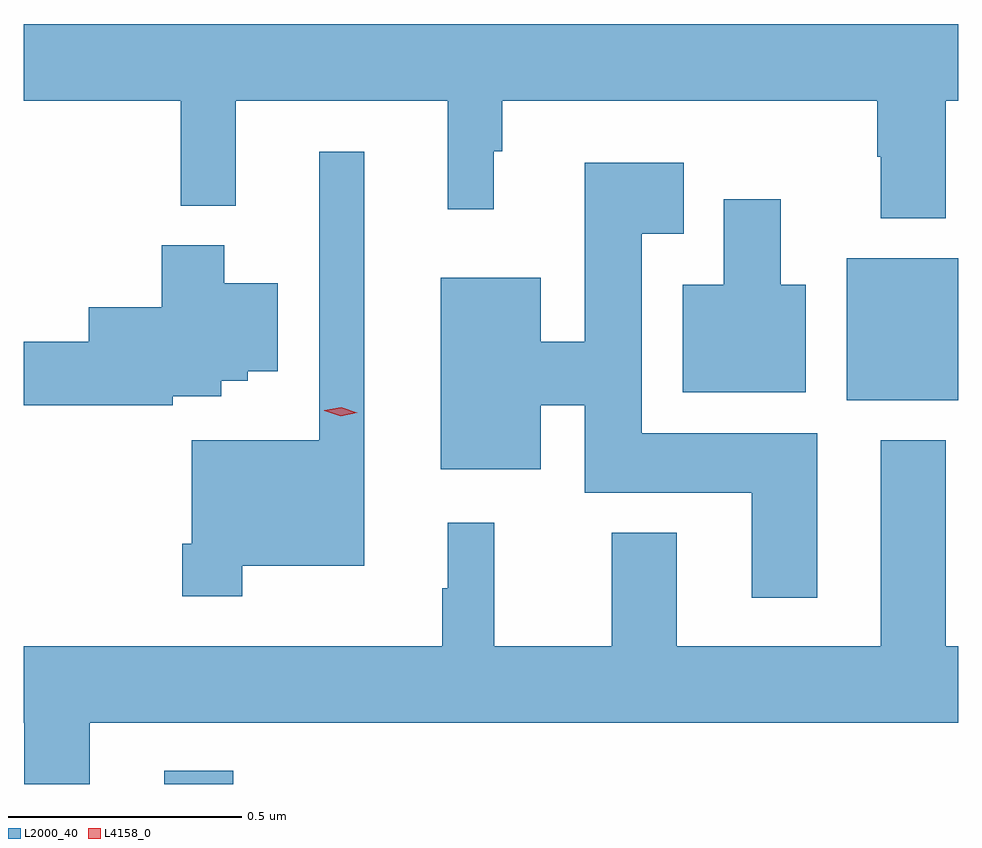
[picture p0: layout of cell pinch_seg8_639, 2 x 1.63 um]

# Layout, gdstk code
import gdstk
lib = gdstk.Library(unit=1e-6, precision=1e-09)
def R(c, l, rs):  # rectangles x0, y0, x1, y1
    for r in rs: c.add(gdstk.rectangle(r[:2], r[2:], *l))
def P(c, l, *ps):  # polygons
    for p in ps: c.add(gdstk.Polygon(p, *l))
L2000_40 = (2000, 40)
L4158_0 = (4158, 0)

pinch_seg8_639 = lib.new_cell('pinch_seg8_639')
R(pinch_seg8_639, L2000_40, [(203.312,1089.729,203.459,1089.757), (204.773,1090.55,205.011,1090.855)])
P(pinch_seg8_639, L2000_40, [(204.985,1091.192),(205.011,1091.192),(205.011,1091.356),(203.011,1091.356),(203.011,1091.192),(203.347,1091.192),(203.347,1090.967),(203.465,1090.967),(203.465,1091.192),(203.918,1091.192),(203.918,1090.959),(204.017,1090.959),(204.017,1091.084),(204.035,1091.084),(204.035,1091.192),(204.838,1091.192),(204.838,1091.072),(204.845,1091.072),(204.845,1090.94),(204.985,1090.94)],
  [(203.479,1090.196),(203.74,1090.196),(203.74,1091.083),(203.643,1091.083),(203.643,1090.465),(203.37,1090.465),(203.37,1090.243),(203.35,1090.243),(203.35,1090.131),(203.479,1090.131)],
  [(204.709,1090.48),(204.334,1090.48),(204.334,1090.907),(204.424,1090.907),(204.424,1091.059),(204.212,1091.059),(204.212,1090.676),(204.118,1090.676),(204.118,1090.813),(203.903,1090.813),(203.903,1090.403),(204.118,1090.403),(204.118,1090.54),(204.212,1090.54),(204.212,1090.352),(204.569,1090.352),(204.569,1090.128),(204.709,1090.128)],
  [(204.685,1090.798),(204.631,1090.798),(204.631,1090.981),(204.509,1090.981),(204.509,1090.798),(204.422,1090.798),(204.422,1090.568),(204.685,1090.568)],
  [(203.33,1090.559),(203.434,1090.559),(203.434,1090.592),(203.49,1090.592),(203.49,1090.613),(203.554,1090.613),(203.554,1090.801),(203.44,1090.801),(203.44,1090.882),(203.306,1090.882),(203.306,1090.75),(203.15,1090.75),(203.15,1090.676),(203.011,1090.676),(203.011,1090.54),(203.33,1090.54)],
  [(203.152,1089.86),(205.011,1089.86),(205.011,1090.024),(204.985,1090.024),(204.985,1090.465),(204.845,1090.465),(204.845,1090.024),(204.409,1090.024),(204.409,1090.267),(204.269,1090.267),(204.269,1090.024),(204.018,1090.024),(204.018,1090.288),(203.918,1090.288),(203.918,1090.148),(203.907,1090.148),(203.907,1090.024),(203.011,1090.024),(203.011,1089.86),(203.012,1089.86),(203.012,1089.729),(203.152,1089.729)])
P(pinch_seg8_639, L4158_0, [(203.689,1090.516),(203.654,1090.528),(203.654,1090.528),(203.654,1090.529),(203.69,1090.536),(203.725,1090.524),(203.725,1090.524),(203.725,1090.524)])

lib.write_gds('pinch_seg8_639.gds')
